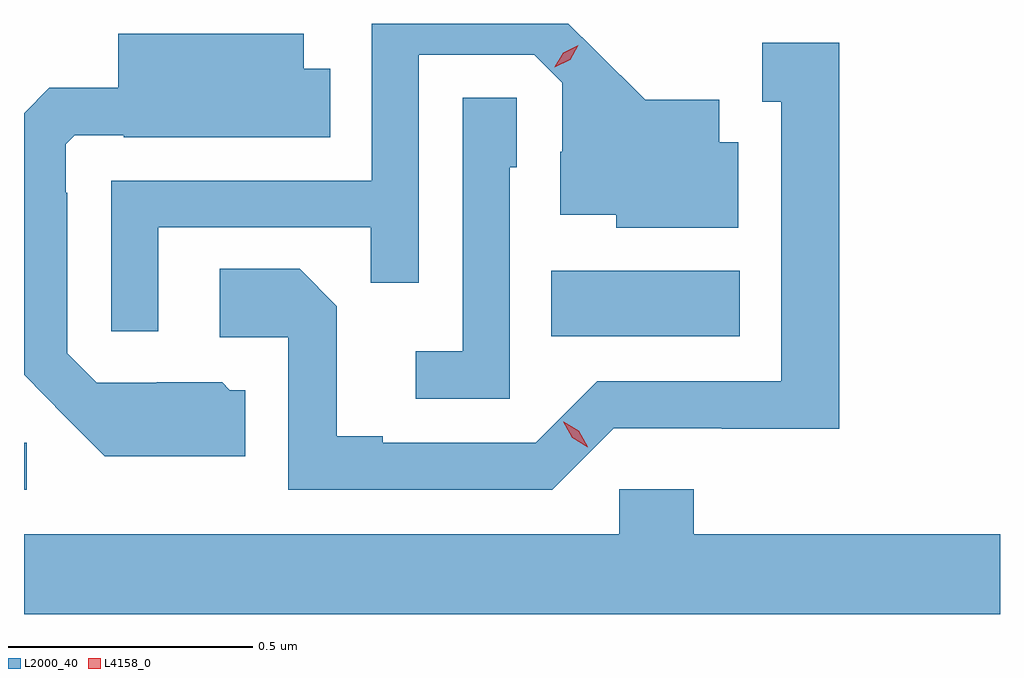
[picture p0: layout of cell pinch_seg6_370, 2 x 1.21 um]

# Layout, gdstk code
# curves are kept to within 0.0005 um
import gdstk
lib = gdstk.Library(unit=1e-6, precision=1e-09)
def R(c, l, rs):  # rectangles x0, y0, x1, y1
    for r in rs: c.add(gdstk.rectangle(r[:2], r[2:], *l))
def P(c, l, *ps):  # polygons
    for p in ps: c.add(gdstk.Polygon(p, *l))
L2000_40 = (2000, 40)
L4158_0 = (4158, 0)

pinch_seg6_370 = lib.new_cell('pinch_seg6_370')
R(pinch_seg6_370, L2000_40, [(638.008,955.584,638.014,955.68), (639.088,955.898,639.475,956.032)])
P(pinch_seg6_370, L2000_40, [(638.283,956.121),(638.719,956.121),(638.719,956.008),(638.817,956.008),(638.817,956.475),(639.054,956.475),(639.111,956.418),(639.111,956.276),(639.107,956.276),(639.107,956.147),(639.222,956.147),(639.222,956.12),(639.472,956.12),(639.472,956.296),(639.433,956.296),(639.433,956.383),(639.281,956.383),(639.123,956.539),(638.721,956.539),(638.721,956.217),(638.187,956.217),(638.187,955.908),(638.283,955.908)],
  [(638.461,955.788),(638.43,955.788),(638.414,955.804),(638.28,955.804),(638.28,955.803),(638.157,955.803),(638.097,955.863),(638.097,956.192),(638.094,956.192),(638.094,956.292),(638.112,956.31),(638.212,956.31),(638.212,956.306),(638.636,956.306),(638.636,956.446),(638.581,956.446),(638.581,956.518),(638.201,956.518),(638.201,956.407),(638.06,956.407),(638.008,956.355),(638.008,955.819),(638.173,955.652),(638.461,955.652)],
  [(639.216,955.71),(639.438,955.71),(639.438,955.709),(639.679,955.709),(639.679,956.5),(639.521,956.5),(639.521,956.379),(639.56,956.379),(639.56,955.806),(639.183,955.806),(639.057,955.68),(638.743,955.68),(638.743,955.693),(638.649,955.693),(638.649,955.96),(638.573,956.036),(638.409,956.036),(638.409,955.896),(638.55,955.896),(638.55,955.584),(639.09,955.584)],
  [(639.003,956.244),(639.018,956.244),(639.018,956.387),(638.907,956.387),(638.907,955.867),(638.811,955.867),(638.811,955.77),(639.003,955.77)],
  [(640.008,955.492),(639.38,955.492),(639.38,955.585),(639.228,955.585),(639.228,955.492),(638.008,955.492),(638.008,955.328),(640.008,955.328)])
P(pinch_seg6_370, L4158_0, [(639.163,955.671),(639.131,955.69),(639.113,955.723),(639.113,955.723),(639.114,955.723),(639.145,955.704),(639.163,955.672),(639.163,955.671)],
  [(639.096,956.449),(639.096,956.45),(639.113,956.479),(639.144,956.494),(639.144,956.494),(639.144,956.494),(639.127,956.465),(639.096,956.449)])

lib.write_gds('pinch_seg6_370.gds')
